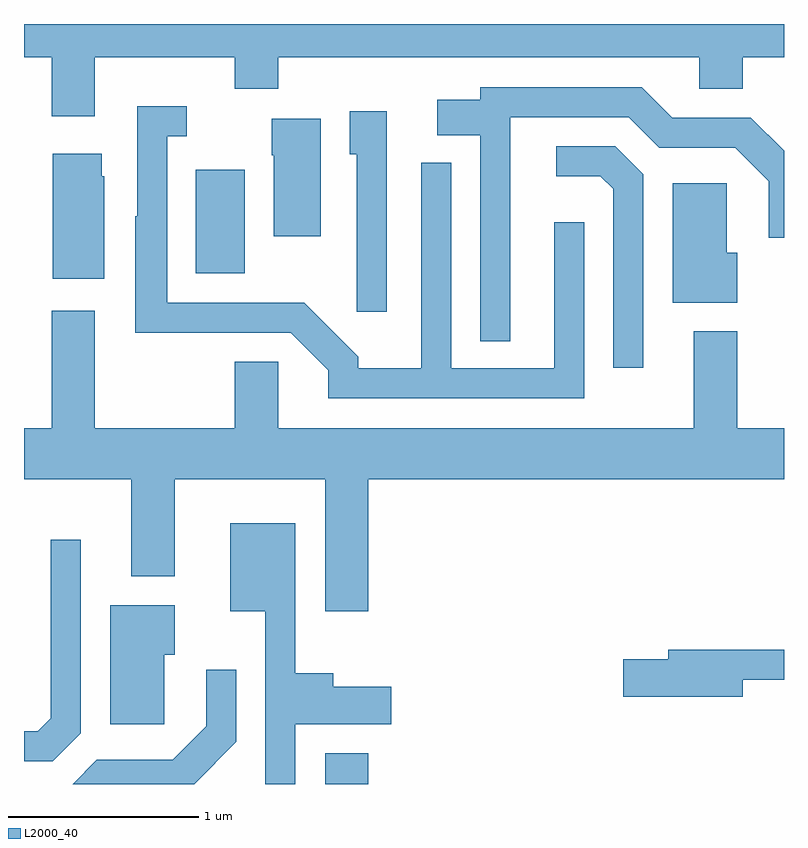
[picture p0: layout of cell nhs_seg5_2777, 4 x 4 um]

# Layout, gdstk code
import gdstk
lib = gdstk.Library(unit=1e-6, precision=1e-09)
def R(c, l, rs):  # rectangles x0, y0, x1, y1
    for r in rs: c.add(gdstk.rectangle(r[:2], r[2:], *l))
def P(c, l, *ps):  # polygons
    for p in ps: c.add(gdstk.Polygon(p, *l))
L2000_40 = (2000, 40)

nhs_seg5_2777 = lib.new_cell('nhs_seg5_2777')
R(nhs_seg5_2777, L2000_40, [(269.196,1464.072,269.424,1464.234), (268.516,1466.761,268.774,1467.304)])
P(nhs_seg5_2777, L2000_40, [(267.984,1467.896),(268.721,1467.896),(268.721,1467.731),(268.949,1467.731),(268.949,1467.896),(271.166,1467.896),(271.166,1467.731),(271.394,1467.731),(271.394,1467.896),(271.611,1467.896),(271.611,1468.072),(267.611,1468.072),(267.611,1467.896),(267.756,1467.896),(267.756,1467.586),(267.984,1467.586)],
  [(270.169,1467.581),(270.794,1467.581),(270.954,1467.421),(271.354,1467.421),(271.531,1467.244),(271.531,1466.948),(271.611,1466.948),(271.611,1467.405),(271.437,1467.579),(271.022,1467.579),(270.862,1467.739),(270.011,1467.739),(270.011,1467.674),(269.786,1467.674),(269.786,1467.486),(270.011,1467.486),(270.011,1466.403),(270.169,1466.403)],
  [(270.559,1467.028),(270.401,1467.028),(270.401,1466.259),(269.859,1466.259),(269.859,1467.343),(269.701,1467.343),(269.701,1466.259),(269.369,1466.259),(269.369,1466.322),(269.087,1466.604),(268.364,1466.604),(268.364,1467.481),(268.468,1467.481),(268.468,1467.639),(268.206,1467.639),(268.206,1467.06),(268.196,1467.06),(268.196,1466.446),(269.014,1466.446),(269.211,1466.249),(269.211,1466.101),(270.559,1466.101)],
  [(269.519,1467.614),(269.326,1467.614),(269.326,1467.386),(269.361,1467.386),(269.361,1466.558),(269.519,1466.558)],
  [(269.174,1467.574),(268.916,1467.574),(268.916,1467.38),(268.926,1467.38),(268.926,1466.956),(269.174,1466.956)],
  [(270.869,1467.282),(270.722,1467.429),(270.413,1467.429),(270.413,1467.271),(270.644,1467.271),(270.711,1467.204),(270.711,1466.263),(270.869,1466.263)],
  [(268.034,1467.27),(268.019,1467.27),(268.019,1467.389),(267.761,1467.389),(267.761,1466.731),(268.034,1466.731)],
  [(271.364,1466.869),(271.309,1466.869),(271.309,1467.234),(271.026,1467.234),(271.026,1466.606),(271.364,1466.606)],
  [(269.424,1465.676),(271.611,1465.676),(271.611,1465.944),(271.364,1465.944),(271.364,1466.454),(271.136,1466.454),(271.136,1465.944),(268.949,1465.944),(268.949,1466.294),(268.721,1466.294),(268.721,1465.944),(267.984,1465.944),(267.984,1466.564),(267.756,1466.564),(267.756,1465.944),(267.611,1465.944),(267.611,1465.676),(268.176,1465.676),(268.176,1465.166),(268.404,1465.166),(268.404,1465.676),(269.196,1465.676),(269.196,1464.981),(269.424,1464.981)],
  [(269.039,1464.386),(269.544,1464.386),(269.544,1464.584),(269.239,1464.584),(269.239,1464.654),(269.039,1464.654),(269.039,1465.444),(268.696,1465.444),(268.696,1464.981),(268.881,1464.981),(268.881,1464.072),(269.039,1464.072)],
  [(267.909,1464.339),(267.909,1465.358),(267.751,1465.358),(267.751,1464.417),(267.684,1464.349),(267.611,1464.349),(267.611,1464.191),(267.762,1464.191)],
  [(268.349,1464.751),(268.404,1464.751),(268.404,1465.014),(268.066,1465.014),(268.066,1464.386),(268.349,1464.386)],
  [(271.394,1464.621),(271.611,1464.621),(271.611,1464.779),(271.001,1464.779),(271.001,1464.729),(270.766,1464.729),(270.766,1464.531),(271.394,1464.531)],
  [(268.729,1464.294),(268.729,1464.673),(268.571,1464.673),(268.571,1464.377),(268.394,1464.199),(267.994,1464.199),(267.867,1464.072),(268.508,1464.072)])

lib.write_gds('nhs_seg5_2777.gds')
